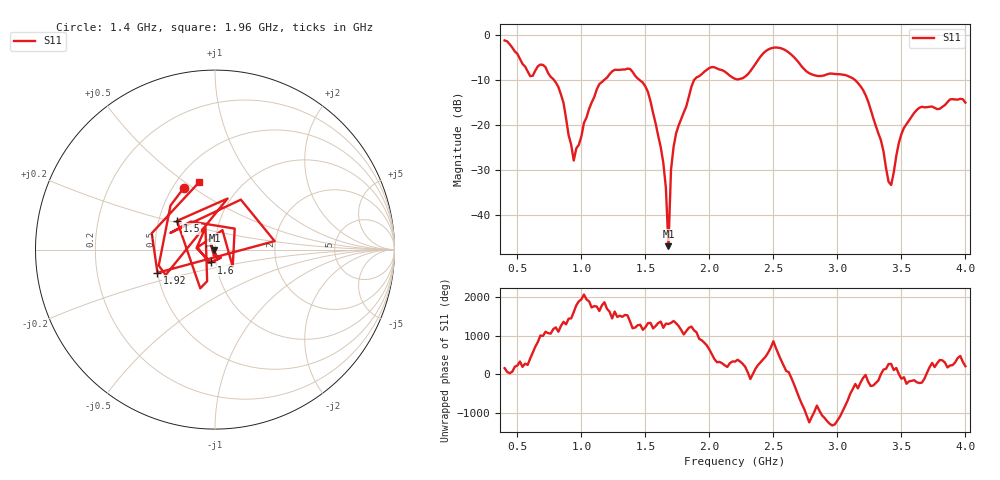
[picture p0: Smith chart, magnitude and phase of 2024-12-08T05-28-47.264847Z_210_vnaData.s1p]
!Created with skrf (http://scikit-rf.org).
# Hz S RI R 50.0
!freq ReS11 ImS11
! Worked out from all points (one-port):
!   181 points, 400 MHz to 4 GHz, reference 50 ohm
!   lowest |S11| = -46.9 dB at 1.68 GHz (marker M1), VSWR 1.01, Z = 49.7 - j0.334 ohm
!   |S11| at or under -10 dB: 783.6 MHz to 1.18 GHz (396.7 MHz wide, 40.4 % of centre); 1.451 GHz to 1.883 GHz (431.4 MHz wide, 25.9 % of centre); 3.134 GHz to end of sweep
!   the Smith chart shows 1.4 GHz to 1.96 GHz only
!   S11 on the Smith chart (normalised r, x): 1.4 GHz: 0.57, +0.46; 1.5 GHz: 0.62, +0.21; 1.6 GHz: 0.95, -0.14; 1.92 GHz: 0.50, -0.15; 1.96 GHz: 0.64, +0.57
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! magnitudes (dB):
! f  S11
! 400 MHz  -1.3
! 600 MHz  -9.2
! 720 MHz  -7.2
! 860 MHz  -15.1
! 940 MHz  -27.9
! 1.14 GHz  -11.0
! 1.3 GHz  -7.8
! 1.4 GHz  -8.3
! 1.5 GHz  -11.5
! 1.6 GHz  -22.5
! 1.66 GHz  -34.0
! 1.68 GHz  -46.9
! 1.7 GHz  -30.0
! 1.76 GHz  -20.1
! 1.88 GHz  -10.1
! 1.92 GHz  -9.2
! 1.96 GHz  -8.3
! 2.2 GHz  -9.8
! 2.48 GHz  -3.1
! 2.66 GHz  -5.0
! 2.8 GHz  -8.8
! 3.1 GHz  -9.4
! 3.24 GHz  -14.8
! 3.42 GHz  -33.4
! 3.48 GHz  -24.0
! 3.56 GHz  -19.1
! 3.66 GHz  -16.0
! 4 GHz  -15.1
